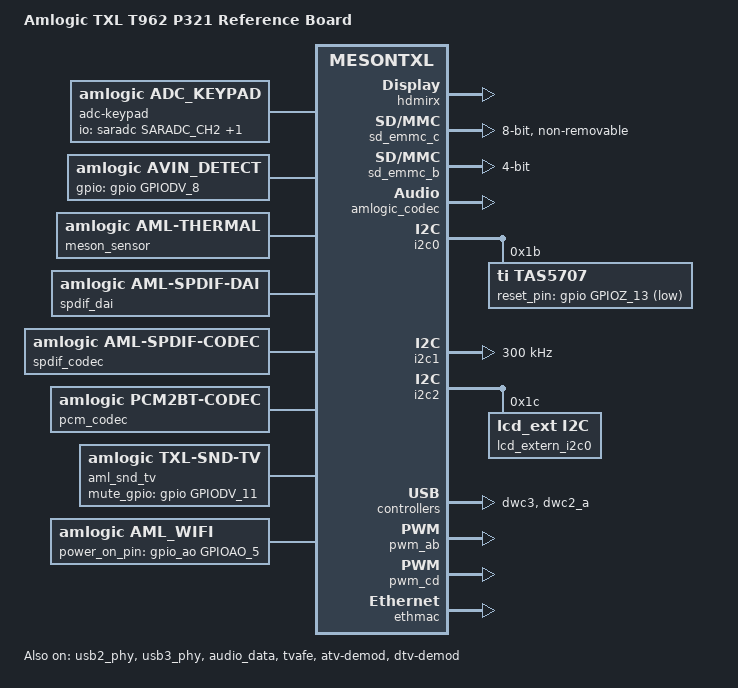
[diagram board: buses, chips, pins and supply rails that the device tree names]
/*
 * arch/arm/boot/dts/amlogic/txl_t962_321.dts
 *
 * Copyright (C) 2018 Amlogic, Inc. All rights reserved.
 *
 * This program is free software; you can redistribute it and/or modify
 * it under the terms of the GNU General Public License as published by
 * the Free Software Foundation; either version 2 of the License, or
 * (at your option) any later version.
 *
 * This program is distributed in the hope that it will be useful, but WITHOUT
 * ANY WARRANTY; without even the implied warranty of MERCHANTABILITY or
 * FITNESS FOR A PARTICULAR PURPOSE.  See the GNU General Public License for
 * more details.
 *
 */

/dts-v1/;

#include "mesontxl.dtsi"
#include "partition_mbox_normal_P_32.dtsi"
#include "mesontxl_p321-panel.dtsi"

/ {
	model = "Amlogic TXL T962 P321 Reference Board";
	compatible = "amlogic, txl_t962_p321";
	amlogic-dt-id = "txl_p321_v1_720p";

	aliases {
		serial0 = &uart_AO;
		serial1 = &uart_A;
		serial2 = &uart_B;
		serial3 = &uart_C;
		serial4 = &uart_AO_B;
		i2c0 = &i2c0;
		i2c1 = &i2c1;
		i2c2 = &i2c2;
		i2c3 = &i2c3;
		i2c4 = &i2c_AO;
	};

	ion_dev {
		compatible = "amlogic, ion_dev";
		memory-region = <&ion_reserved>;
	};

	memory@00000000 {
		device_type = "memory";
		linux,usable-memory = <0x100000 0x3ff00000>;
	};

	reserved-memory {
		#address-cells = <1>;
		#size-cells = <1>;
		ranges;
		/* global autoconfigured region for contiguous allocations */

		defendkey_reserved:linux,defendkey {
			compatible = "amlogic, defendkey";
			reg = <0x08300000 0x100000>;
		};

		secmon_reserved:linux,secmon {
			compatible = "shared-dma-pool";
			reusable;
			size = <0x400000>;
			alignment = <0x400000>;
			alloc-ranges = <0x05000000 0x400000>;
		};

		//secos_reserved:linux,secos {
		//	status = "disabled";
		//	compatible = "amlogic, aml_secos_memory";
		//	reg = <0x0 0x05300000 0x0 0x2000000>;
		//	no-map;
		//};

		logo_reserved:linux,meson-fb {
			compatible = "shared-dma-pool";
			reusable;
			size = <0x400000>;
			alignment = <0x400000>;
			alloc-ranges = <0x0 0x30000000>;
		};
		codec_mm_cma:linux,codec_mm_cma {
			compatible = "shared-dma-pool";
			reusable;
			/* ion_codec_mm max can alloc size 80M*/
			size = <0xd000000>;
			alignment = <0x400000>;
			linux,contiguous-region;
			/** alloc by self **/
			alloc-ranges = <0x30000000 0x10000000>;
		};


		ion_reserved:linux,ion-dev {
			compatible = "shared-dma-pool";
			reusable;
			size = <0x2400000>;
			alignment = <0x400000>;
			/* alloc by self */
			alloc-ranges = <0x0 0x30000000>;
		};

		/*di CMA pool */
		di_cma_reserved:linux,di_cma {
			compatible = "shared-dma-pool";
			reusable;
			/* buffer_size = 3621952(yuv422 8bit)
			 *  | 4736064(yuv422 10bit)
			 *  | 4179008(yuv422 10bit full pack mode)
			 * 10x3621952=34.6M(0x23) support 8bit
			 * 10x4736064=45.2M(0x2e) support 12bit
			 * 10x4179008=40M(0x28) support 10bit
			 */
			size = <0x02800000>;
			alignment = <0x400000>;
			alloc-ranges = <0x30000000 0x10000000>;
		};

		/* POST PROCESS MANAGER */
		ppmgr_reserved:linux,ppmgr {
			compatible = "amlogic, ppmgr_memory";
			size = <0x0>;
		};

		picdec_cma_reserved:linux,picdec {
			compatible = "shared-dma-pool";
			reusable;
			size = <0x0>;
			alignment = <0x0>;
			linux,contiguous-region;
		};

		/* codec shared reserved */
		codec_mm_reserved:linux,codec_mm_reserved {
			compatible = "amlogic, codec-mm-reserved";
			size = <0x0>;
			alignment = <0x100000>;
			//no-map;
		};

		demod_cma_reserved:linux,demod_cma {
			compatible = "shared-dma-pool";
			reusable;
			/* 5M */
			size = <0x0800000>;
			alignment = <0x400000>;
			alloc-ranges = <0x0 0x30000000>;
		};

		/*  vdin1 CMA pool */
		vdin1_cma_reserved:linux,vdin1_cma {
			compatible = "shared-dma-pool";
			reusable;
			/* 1920x1080x2x4  =16 M */
			size = <0x01000000>;
			alignment = <0x400000>;
			/** alloc by self **/
			alloc-ranges = <0x0 0x30000000>;
		};
	}; /* end of reserved-memory */

	amlogic_battery:dummy-battery {
		compatible = "amlogic, dummy-battery";
		status = "disabled";
	};

	amlogic_charger:dummy-charger {
		compatible = "amlogic, dummy-charger";
		status = "disabled";
	};

	secmon {
		compatible = "amlogic, secmon";
		memory-region = <&secmon_reserved>;
		in_base_func = <0x82000020>;
		out_base_func = <0x82000021>;
		reserve_mem_size = <0x00300000>;
	};

	gpioleds {
		compatible = "gpio-leds";
		status = "disabled";

		sys_led {
			label = "sys_led";
			gpios = <&gpio_ao GPIOAO_3 GPIO_ACTIVE_HIGH>;
			default-state = "on";
		};
	};

	/*for external keypad*/
	adc-keypad {
		compatible = "amlogic, adc_keypad";
		status = "okay";
		key_name = "power","up", "down","enter","left","right","home";
		key_num = <7>;
		io-channels = <&saradc SARADC_CH2>,
				<&saradc SARADC_CH3>;
		io-channel-names = "key-chan-2", "key-chan-3";
		key_chan = <SARADC_CH2 SARADC_CH2 SARADC_CH2 SARADC_CH2
					SARADC_CH2 SARADC_CH3 SARADC_CH3>;
		key_code = <116 103 108 28 105 106 102>;
		key_val = <0 143 266 389 512 143 266>; //val=voltage/1800mV*1023
		key_tolerance = <40 40 40 40 40 40 40>;
	};

	avin_detect {
		compatible = "amlogic, avin_detect";
		status = "okay";
		avin_device_num = <1>;
		gpios = <&gpio  GPIODV_8  GPIO_ACTIVE_HIGH>;
		detect_interval_length = <100>;
		set_detect_times = <5>;
		set_fault_tolerance = <1>;
	};

	meson-fb {
               compatible = "amlogic, meson-txl";
		memory-region = <&logo_reserved>;
		dev_name = "meson-fb";
		status = "okay";
		interrupts = <0 3 1
			0 89 1>;
		interrupt-names = "viu-vsync", "rdma";
		mem_size = <0x00400000 0x00b00000 0x00100000>;
		/* uboot logo,fb0/fb1 memory size,if afbcd fb0=0x0b51000*/
		display_mode_default = "720p60hz";
		/* 0:VPU free scale 1:OSD free scale 2:OSD super scale */
		scale_mode = <1>;
		/*1280*720*4*3 = 0xA8C000*/
		display_size_default = <1280 720 1280 2160 32>;
		pxp_mode = <0>; /** 0:normal mode 1:pxp mode */
		logo_addr = "0x3fc00000";
	};

	picdec {
		compatible = "amlogic, picdec";
		status = "okay";
		memory-region = <&picdec_cma_reserved>;
	};

	ppmgr {
		compatible = "amlogic, ppmgr";
		status = "okay";
		memory-region = <&ppmgr_reserved>;
	};

	deinterlace {
		compatible = "amlogic, deinterlace";
		status = "okay";
		/* 0:use reserved; 1:use cma; 2:use cma as reserved */
		flag_cma = <1>;
		//memory-region = <&di_reserved>;
		memory-region = <&di_cma_reserved>;
		interrupts = <0 46 1
				0 6 1>;
		interrupt-names = "de_irq";
		clocks = <&clkc CLKID_VPU_MUX>,
			<&clkc CLKID_FCLK_DIV4>,
			<&clkc CLKID_VPU_CLKB_TMP_COMP>,
			<&clkc CLKID_VPU_CLKB_COMP>;
		clock-names = "vpu_mux",
			"fclk_div4",
			"vpu_clkb_tmp_composite",
			"vpu_clkb_composite";
		clock-range = <333 333>;
		/* buffer-size = <3621952>;(yuv422 8bit) */
		buffer-size = <4179008>;/*yuv422 fullpack*/
		/* reserve-iomap = "true"; */
		/* if enable nr10bit, set nr10bit-support to 1 */
		nr10bit-support = <1>;
	};

	ionvideo {
		compatible = "amlogic, ionvideo";
		dev_name = "ionvideo";
		status = "okay";
	};

	hdmirx {
		compatible = "amlogic, hdmirx-txl";
		status = "okay";
		#address-cells=<1>;
		#size-cells=<1>;
		dev_name = "hdmirx";
		pinctrl-names = "hdmirx_pins";
		pinctrl-0 = <&hdmirx_a_mux &hdmirx_b_mux
			&hdmirx_c_mux>;
		repeat = <0>;
		interrupts = <0 56 1>;
		clocks = <&clkc CLKID_HDMIRX_MODET_COMP>,
			<&clkc CLKID_HDMIRX_CFG_COMP>,
			<&clkc CLKID_HDMIRX_ACR_COMP>,
			<&clkc CLKID_HDMIRX_AUDMEAS_COMP>,
			<&xtal>,
			<&clkc CLKID_FCLK_DIV5>,
			<&clkc CLKID_FCLK_DIV7>,
			<&clkc CLKID_HDCP22_SKP_COMP>,
			<&clkc CLKID_HDCP22_ESM_COMP>;
			//<&clkc CLK_AUD_PLL2FS>,
			//<&clkc CLK_AUD_PLL4FS>,
			//<&clkc CLK_AUD_OUT>;
		clock-names = "hdmirx_modet_clk",
			"hdmirx_cfg_clk",
			"hdmirx_acr_ref_clk",
			"hdmirx_audmeas_clk",
			"xtal",
			"fclk_div5",
			"fclk_div7",
			"hdcp_rx22_skp",
			"hdcp_rx22_esm";
			//"hdmirx_aud_pll2fs",
			//"hdmirx_aud_pll4f",
			//"clk_aud_out";
		hdmirx_id = <0>;
		en_4k_2_2k = <0>;
		hpd_low_cec_off = <1>;
		/* bit4: enable feature, bit3~0: port number */
		disable_port = <0x0>;
		reg = <0xc0800000 0xa00000
			0xC883C000 0x2000
			0xd0076000 0x2000
			0xc883e000 0x2000
			0xda83e000 0x2000
			0xc8834000 0x2000
			0xda846000 0x2000>;
	};

	vdin@0 {
		compatible = "amlogic, vdin";
		/*memory-region = <&vdin0_cma_reserved>;*/
		dev_name = "vdin0";
		status = "okay";
		reserve-iomap = "true";
		/*bit0:(1:share with codec_mm;0:cma alone)*/
		/*bit8:(1:alloc in discontinus way;0:alone in continuous way)*/
		flag_cma = <0x101>;
		/* MByte, if 10bit disable: 64M(YUV422),
		 * if 10bit enable: 64*1.5 = 96M(YUV422)
		 * if support 4K2K-YUV444-10bit-WR:3840*2160*4*4 ~= 128M
		 * if support 4K2K-YUV444-10bit-WR:3840*2160*4*6 ~= 190M
		 * if support 4K2K-YUV422-10bit-wr:3840*2160*3*4 ~= 96M
		 * if support 4K2K-YUV422-8BIT-WR:3840*2160*2*4 ~= 64M
		 * if support 1080p-YUV422-8BIT-WR:1920*1080*2*4 ~= 16M
		 */
		cma_size = <190>;
		interrupts = <0 83 1>;
		rdma-irq = <2>;
		clocks = <&clkc CLKID_FCLK_DIV5>,
			<&clkc CLKID_VDIN_MEAS_COMP>;
		clock-names = "fclk_div5", "cts_vdin_meas_clk";
		vdin_id = <0>;
		/* vdin write mem color depth support:
		 * bit0:support 8bit
		 * bit1:support 9bit
		 * bit2:support 10bit
		 * bit3:support 12bit
		 * bit4:support yuv422 10bit full pack mode (from txl new add)
		 * bit8:use 8bit  at 4k_50/60hz_10bit
		 * bit9:use 10bit at 4k_50/60hz_10bit
		 */
		tv_bit_mode = <0x215>;
	};

	vdin@1 {
		compatible = "amlogic, vdin";
		memory-region = <&vdin1_cma_reserved>;
		dev_name = "vdin1";
		status = "okay";
		reserve-iomap = "true";
		flag_cma = <0>;/*1:share with codec_mm;0:cma alone*/
		interrupts = <0 85 1>;
		rdma-irq = <4>;
		clocks = <&clkc CLKID_FCLK_DIV5>,
			<&clkc CLKID_VDIN_MEAS_COMP>;
		clock-names = "fclk_div5", "cts_vdin_meas_clk";
		vdin_id = <1>;
		/* vdin write mem color depth support:
		 * bit0:support 8bit
		 * bit1:support 9bit
		 * bit2:support 10bit
		 * bit3:support 12bit
		 */
		tv_bit_mode = <21>;
	};

	tvafe:tvafe@c8842000 {
		compatible = "amlogic, tvafe-txl";
		status = "okay";
		/*memory-region = <&tvafe_cma_reserved>;*/
		dev_name = "tvafe";
		flag_cma = <1>;/*1:share with codec_mm;0:cma alone*/
		cma_size = <5>;/*MByte*/
		reg = <0xc8842000 0x2000>;/*tvafe reg base*/
		reserve-iomap = "true";
		tvafe_id = <0>;
		//pinctrl-names = "default";
		/*!!particular sequence, no more and no less!!!*/
		tvafe_pin_mux = <
				3 /* TVAFE_CVBS_IN2, CVBS_IN0 = 0 */
				1 /* TVAFE_CVBS_IN0, CVBS_IN1 */
				2 /* TVAFE_CVBS_IN1, CVBS_IN2 */
				4 /* TVAFE_CVBS_IN3, CVBS_IN3 */
		>;
		clocks = <&clkc CLKID_DAC_CLK>;
		clock-names = "vdac_clk_gate";
	};

	vecm {
		compatible = "amlogic, vecm";
		dev_name = "aml_vecm";
		status = "okay";
		gamma_en = <1>;/*1:enabel ;0:disable*/
		wb_en = <1>;/*1:enabel ;0:disable*/
		cm_en = <1>;/*1:enabel ;0:disable*/
		wb_sel = <1>;/*1:mtx ;0:gainoff*/
		vlock_en = <1>;/*1:enable;0:disable*/
		vlock_mode = <0x4>;
		/* vlock work mode:
		 *bit0:auto ENC
		 *bit1:auto PLL
		 *bit2:manual PLL
		 *bit3:manual ENC
		 *bit4:manual soft ENC
		 *bit5:manual MIX PLL ENC
		 */
		 vlock_pll_m_limit = <1>;
		 vlock_line_limit = <3>;
	};

	tuner: tuner {
		status = "okay";
		tuner_name = "r842_tuner";
		tuner_i2c_adap = <&i2c1>;
		tuner_i2c_addr = <0xf6>;
		tuner_xtal = <1>; /* 0: 16MHz, 1: 24MHz, 3: 27MHz */
		tuner_xtal_mode = <0>;
					/* NO_SHARE_XTAL(0)
					 * MASTER_TO_SLAVE_XTAL_IN(1)
					 * MASTER_TO_SLAVE_XTAL_OUT(2)
					 * SLAVE_XTAL_OUT(3)
					 */
		tuner_xtal_cap = <38>; /* 0 ~ 41 (pf) */
	};

	atv-demod {
		compatible = "amlogic, atv-demod";
		status = "okay";
		tuner = <&tuner>;
		btsc_sap_mode = <1>;
		pinctrl-names = "atvdemod_agc_pins";
		pinctrl-0 = <&atvdemod_agc_pins>;
		reg = <0xc8840000 0x2000 /* demod reg */
			0xc883c000 0x2000 /* hiu reg */
			0xc8834000 0x2000>; /* periphs reg */
		reg_23cf = <0x88188832>;
		/*default:0x88188832;r840 on haier:0x48188832*/
	};

	sd_emmc_c: emmc@d0074000 {
		compatible = "amlogic, meson-mmc-txl";
		status = "okay";
		reg = <0xd0074000 0x2000>;
		interrupts = <0 218 1>;
		pinctrl-names = "emmc_clk_cmd_pins", "emmc_all_pins";
		pinctrl-0 = <&emmc_clk_cmd_pins>;
		pinctrl-1 = <&emmc_conf_pull_up &emmc_conf_pull_done>;
		clocks = <&clkc CLKID_SD_EMMC_C>,
			   <&clkc CLKID_SD_EMMC_C_COMP>,
			   <&clkc CLKID_FCLK_DIV2>;
		clock-names = "core", "clkin0", "clkin1";

		bus-width = <8>;
		cap-sd-highspeed;
		cap-mmc-highspeed;
		mmc-ddr-1_8v;
		mmc-hs200-1_8v;

		max-frequency = <200000000>;
		non-removable;
		disable-wp;
		emmc {
			pinname = "emmc";
			ocr_avail = <0x200080>; /**VDD voltage 3.3 ~ 3.4 */
			caps = "MMC_CAP_8_BIT_DATA",
				 "MMC_CAP_MMC_HIGHSPEED",
				 "MMC_CAP_SD_HIGHSPEED",
				 "MMC_CAP_NONREMOVABLE",
				 "MMC_CAP_1_8V_DDR",
				 "MMC_CAP_HW_RESET",
				 "MMC_CAP_ERASE",
				 "MMC_CAP_CMD23";
			caps2 = "MMC_CAP2_HS200";
			f_min = <400000>;
			f_max = <100000000>;
			max_req_size = <0x20000>; /**128KB*/
			gpio_dat3 = <&gpio BOOT_3 GPIO_ACTIVE_HIGH>;
			hw_reset = <&gpio BOOT_9 GPIO_ACTIVE_HIGH>;
			tx_phase = <3>;
			card_type = <1>;
			/* 1:mmc card(include eMMC),
			 * 2:sd card(include tSD)
			 */
		};
	};

	sd_emmc_b:sd@d0072000 {
		compatible = "amlogic, meson-mmc-txl";
		status = "okay";
		reg = <0xd0072000 0x2000>;
		interrupts = <0 217 1>;
		pinctrl-names = "sd_all_pins",
			"sd_clk_cmd_pins",
			"sd_1bit_pins",
			"sd_clk_cmd_uart_pins",
			"sd_1bit_uart_pins",
			"sd_to_ao_uart_pins",
			"ao_to_sd_uart_pins",
			"ao_to_sd_jtag_pins",
			"sd_to_ao_jtag_pins";
		pinctrl-0 = <&sd_all_pins>;
		pinctrl-1 = <&sd_clk_cmd_pins>;
		pinctrl-2 = <&sd_1bit_pins>;
		pinctrl-3 = <&sd_to_ao_uart_clr_pins
			&sd_clk_cmd_pins &ao_to_sd_uart_pins>;
		pinctrl-4 = <&sd_to_ao_uart_clr_pins
			&sd_1bit_pins &ao_to_sd_uart_pins>;
		pinctrl-5 = <&sd_all_pins &sd_to_ao_uart_pins>;
		pinctrl-6 = <&sd_to_ao_uart_clr_pins &ao_to_sd_uart_pins>;
		pinctrl-7 = <&sd_to_ao_uart_clr_pins &ao_to_sd_uart_pins>;
		pinctrl-8 = <&sd_all_pins &sd_to_ao_uart_pins>;
		clocks = <&clkc CLKID_SD_EMMC_B>,
			   <&clkc CLKID_SD_EMMC_B_COMP>,
			   <&clkc CLKID_FCLK_DIV2>;
		clock-names = "core", "clkin0", "clkin1";

		bus-width = <4>;
		cap-sd-highspeed;
		max-frequency = <100000000>;
		disable-wp;
		sd {
			pinname = "sd";
			ocr_avail = <0x200080>; /**VDD voltage 3.3 ~ 3.4 */
			caps = "MMC_CAP_4_BIT_DATA",
				 "MMC_CAP_MMC_HIGHSPEED",
				 "MMC_CAP_SD_HIGHSPEED";
			/* "MMC_CAP_UHS_SDR12",
			 * "MMC_CAP_UHS_SDR25",
			 * "MMC_CAP_UHS_SDR50",
			 * "MMC_CAP_UHS_SDR104";
			 */
			f_min = <400000>;
			f_max = <100000000>;
			max_req_size = <0x20000>; /**128KB*/
			gpio_dat3 = <&gpio CARD_4 GPIO_ACTIVE_HIGH>;
			jtag_pin = <&gpio CARD_0 GPIO_ACTIVE_HIGH>;
			gpio_cd = <&gpio CARD_6 GPIO_ACTIVE_HIGH>;
			card_type = <5>;
			/* 0:unknown,
			 * 1:mmc card(include eMMC),
			 * 2:sd card(include tSD),
			 * 3:sdio device(ie:sdio-wifi),
			 * 4:SD combo (IO+mem) card,
			 * 5:NON sdio device(means sd/mmc card),
			 * other:reserved
			 */
		};
	};

	spifc: spifc@c1108c80 {
		status = "disabled";
		compatible = "amlogic,aml-spi-nor";
		reg = <0xc1108c80 0x80>;
		pinctrl-names = "default";
		pinctrl-0 = <&spifc_all_pins>;
		clocks = <&clkc CLKID_CLK81>;
		clock-names = "core";
		spi-nor@0 {
			compatible = "jedec,spi-nor";
			spifc-frequency = <40000000>;
			read-capability = <2>;/* dual read 1_1_2 */
			spifc-io-width = <2>;/* txl only support 2 io */
			cs_gpios = <&gpio BOOT_11 GPIO_ACTIVE_HIGH>;
		};
	};

	unifykey {
		compatible = "amlogic, unifykey";
		status = "okay";

		unifykey-num = <19>;
		unifykey-index-0 = <&keysn_0>;
		unifykey-index-1 = <&keysn_1>;
		unifykey-index-2 = <&keysn_2>;
		unifykey-index-3 = <&keysn_3>;
		unifykey-index-4 = <&keysn_4>;
		unifykey-index-5 = <&keysn_5>;
		unifykey-index-6 = <&keysn_6>;
		unifykey-index-7 = <&keysn_7>;
		unifykey-index-8 = <&keysn_8>;
		unifykey-index-9 = <&keysn_9>;
		unifykey-index-10= <&keysn_10>;
		unifykey-index-11 = <&keysn_11>;
		unifykey-index-12 = <&keysn_12>;
		unifykey-index-13 = <&keysn_13>;
		unifykey-index-14 = <&keysn_14>;
		unifykey-index-15 = <&keysn_15>;
		unifykey-index-16 = <&keysn_16>;
		unifykey-index-17 = <&keysn_17>;
		unifykey-index-18 = <&keysn_18>;

		keysn_0: key_0{
			key-name = "usid";
			key-device = "normal";
			key-permit = "read","write","del";
		};
		keysn_1:key_1{
			key-name = "mac";
			key-device  = "normal";
			key-permit = "read","write","del";
		};
		keysn_2:key_2{
			key-name = "hdcp";
			key-device = "secure";
			key-type  = "sha1";
			key-permit = "read","write","del";
		};
		keysn_3:key_3{
			key-name = "secure_boot_set";
			key-device = "efuse";
			key-permit = "write";
		};
		keysn_4:key_4{
			key-name = "mac_bt";
			key-device = "normal";
			key-permit = "read","write","del";
			key-type  = "mac";
		};
		keysn_5:key_5{
			key-name = "mac_wifi";
			key-device = "normal";
			key-permit = "read","write","del";
			key-type  = "mac";
		};
		keysn_6:key_6{
			key-name = "hdcp2_tx";
			key-device = "normal";
			key-permit = "read","write","del";
		};
		keysn_7:key_7{
			key-name = "hdcp2_rx";
			key-device = "normal";
			key-permit = "read","write","del";
		};
		keysn_8:key_8{
			key-name = "widevinekeybox";
			key-device = "secure";
			key-type = "sha1";
			key-permit = "read","write","del";
		};
		keysn_9:key_9{
			key-name = "deviceid";
			key-device = "normal";
			key-permit = "read","write","del";
		};
		keysn_10:key_10{
			key-name = "hdcp22_fw_private";
			key-device = "secure";
			key-permit = "read","write","del";
		};
		keysn_11:key_11{
			key-name = "hdcp22_rx_private";
			key-device = "secure";
			key-permit = "read","write","del";
		};
		keysn_12:key_12{
			key-name = "hdcp22_rx_fw";
			key-device = "normal";
			key-permit = "read","write","del";
		};
		keysn_13:key_13{
			key-name = "hdcp14_rx";
			key-device = "normal";
			key-type  = "sha1";
			key-permit = "read","write","del";
		};
		keysn_14:key_14{
			key-name = "prpubkeybox";// PlayReady
			key-device = "secure";
			key-permit = "read","write","del";
		};
		keysn_15:key_15{
			key-name = "prprivkeybox";// PlayReady
			key-device = "secure";
			key-permit = "read","write","del";
		};
		keysn_16:key_16{
			key-name = "lcd";
			key-device = "normal";
			key-permit = "read","write","del";
		};
		keysn_17:key_17{
			key-name = "lcd_extern";
			key-device = "normal";
			key-permit = "read","write","del";
		};
		keysn_18:key_18{
			key-name = "backlight";
			key-device = "normal";
			key-permit = "read","write","del";
		};
	}; /* End unifykey */

	vout {
		compatible = "amlogic, vout";
		dev_name = "vout";
		status = "okay";
		fr_auto_policy = <0>;
	};

	dvb {
		compatible = "amlogic, dvb";
		dev_name = "dvb";
		status = "okay";
		fe0_mode = "internal";
		fe0_tuner = <&tuner>;

		/*"parallel","serial","disable"*/
		ts2 = "parallel";
		ts2_control = <0>;
		ts2_invert = <0>;
		interrupts = <0 23 1
						0 5 1
						0 53 1
						0 19 1
						0 25 1
						0 18 1
						0 24 1>;
		interrupt-names = "demux0_irq",
							"demux1_irq",
							"demux2_irq",
							"dvr0_irq",
							"dvr1_irq",
							"dvrfill0_fill",
							"dvrfill1_flush";
		clocks = <&clkc CLKID_DEMUX
						&clkc CLKID_ASYNC_FIFO
						&clkc CLKID_AHB_ARB0
						&clkc CLKID_DOS_PARSER>;
		clock-names = "demux", "asyncfifo", "ahbarb0", "uparsertop";
	};

	meson_sensor: sensor@0 {
		compatible = "amlogic, aml-thermal";
		#thermal-sensor-cells = <1>;
		cooling_devices {
			cpufreq_cool_cluster0 {
				min_state = <1000000>;
				dyn_coeff = <140>;
				cluster_id = <0>;
				node_name = "cpus";
				device_type = "cpufreq";
			};
			cpucore_cool_cluster0 {
				min_state = <1>;
				dyn_coeff = <0>;
				cluster_id = <0>;
				node_name = "cpu_core_cluster0";
				device_type = "cpucore";
			};
			gpufreq_cool {
				min_state = <400>;
				dyn_coeff = <437>;
				cluster_id = <0>;
				node_name = "mali";
				device_type = "gpufreq";
			};
			gpucore_cool {
				min_state = <1>;
				dyn_coeff = <0>;
				cluster_id = <0>;
				node_name = "thermal_gpu_cores";
				device_type = "gpucore";
			};
		};
		cpu_cluster0:cpu_core_cluster0 {
			#cooling-cells = <2>; /* min followed by max */
		};
		gpucore:thermal_gpu_cores {
			#cooling-cells = <2>; /* min followed by max */
		};
	};

	dtv-demod {
		compatible = "amlogic, ddemod-txl";
		status = "okay";

		pinctrl-names = "dtvdemod_agc_pins";
		pinctrl-0 = <&dtvdemod_agc_pins>;

		clocks = <&clkc CLKID_DAC_CLK>;
		clock-names = "vdac_clk_gate";

		reg = <0xc8844000 0x2000	/*dtv demod base*/
			   0xc883c000 0x2000	/*hiu reg base*/
			   0xc8100000 0x1000	/*io_aobus_base*/
			   0xc1104400 0x1000	/*reset*/
			   >;
		/*move from dvbfe*/
		dtv_demod0_mem = <0>;	// need move to aml_dtv_demod ?
		spectrum = <1>;
		cma_flag = <1>;
		cma_mem_size = <8>;
		memory-region = <&demod_cma_reserved>;//<&demod_reserved>;
	};

	thermal-zones {
		soc_thermal {
			polling-delay = <1000>;
			polling-delay-passive = <100>;
			sustainable-power = <2150>;
			thermal-sensors = <&meson_sensor 3>;

			trips {
				switch_on: trip-point@0 {
					temperature = <70000>;
					hysteresis = <1000>;
					type = "passive";
				};
				control: trip-point@1 {
					temperature = <80000>;
					hysteresis = <1000>;
					type = "passive";
				};
				hot: trip-point@2 {
					temperature = <85000>;
					hysteresis = <5000>;
					type = "hot";
				};
				critical: trip-point@3 {
					temperature = <260000>;
					hysteresis = <1000>;
					type = "critical";
				};
			};

			cooling-maps {
				cpufreq_cooling_map {
					trip = <&control>;
					cooling-device = <&cpus 0 4>;
					contribution = <1024>;
				};
				cpucore_cooling_map {
					trip = <&control>;
					cooling-device = <&cpu_cluster0 0 3>;
					contribution = <1024>;
				};
				gpufreq_cooling_map {
					trip = <&control>;
					cooling-device = <&gpu 0 4>;
					contribution = <1024>;
				};
				gpucore_cooling_map {
					trip = <&control>;
					cooling-device = <&gpucore 0 2>;
					contribution = <1024>;
				};
			};
		};
	};

	/* start AUDIO_RELATED */
	i2s_dai: I2S {
		#sound-dai-cells = <0>;
		compatible = "amlogic, aml-i2s-dai";
		clocks = <
			&clkc CLKID_MPLL3
			&clkc CLKID_AMCLK_COMP
			&clkc CLKID_AIU_GLUE
			&clkc CLKID_I2S_OUT
			&clkc CLKID_AMCLK_MEASURE
			&clkc CLKID_AIFIFO2
			&clkc CLKID_MIXER
			&clkc CLKID_MIXER_IFACE
			&clkc CLKID_ADC
			&clkc CLKID_AIU_TOP
			&clkc CLKID_AOCLK_GATE
			&clkc CLKID_I2S_SPDIF
		>;
		clock-names =
			"mpll",
			"mclk",
			"top_glue",
			"i2s_out",
			"amclk_measure",
			"aififo2",
			"aud_mixer",
			"mixer_reg",
			"adc",
			"top_level",
			"aoclk",
			"aud_in";
	};

	spdif_dai: SPDIF {
		#sound-dai-cells = <0>;
		compatible = "amlogic, aml-spdif-dai";
		clocks = <
			&clkc CLKID_MPLL1
			&clkc CLKID_IEC958_INT_COMP
			&clkc CLKID_AMCLK_COMP
			&clkc CLKID_IEC958_MUX
			&clkc CLKID_CLK81
			&clkc CLKID_IEC958
			&clkc CLKID_IEC958_GATE
		>;
		clock-names =
			"mpll1",
			"i958",
			"mclk",
			"spdif",
			"clk_81",
			"iec958",
			"iec958_amclk";
	};

	pcm_dai: PCM {
		#sound-dai-cells = <0>;
		compatible = "amlogic, aml-pcm-dai";
		pinctrl-names = "audio_pcm";
		/* disable pcm pin mux temporary, enable it if necessary */
		/*pinctrl-0 = <&aml_audio_pcm>;*/
		clocks = <
			&clkc CLKID_MPLL0
			&clkc CLKID_PCM_MCLK_COMP
			&clkc CLKID_PCM_SCLK_COMP
			>;
		clock-names = "mpll0", "pcm_mclk", "pcm_sclk";
		pcm_mode = <1>;	/* 0=slave mode, 1=master mode */
	};

	i2s_plat: i2s_platform {
		compatible = "amlogic, aml-i2s";
		interrupts = <0 29 1>;
	};

	pcm_plat: pcm_platform {
		compatible = "amlogic, aml-pcm";
	};

	spdif_codec: spdif_codec {
		#sound-dai-cells = <0>;
		compatible = "amlogic, aml-spdif-codec";
		status = "okay";
		pinctrl-names = "audio_spdif_out";
		pinctrl-0 = <&audio_spdif_out_pins>;
	};

	pcm_codec: pcm_codec {
		#sound-dai-cells = <0>;
		compatible = "amlogic, pcm2BT-codec";
		status = "okay";
	};
	/* endof AUDIO MESON8 DEVICES */

	/* AUDIO board specific */
	dummy_codec:dummy {
		#sound-dai-cells = <0>;
		compatible = "amlogic, aml_dummy_codec";
		status = "disabled";
	};

	amlogic_codec:t9015S {
		#sound-dai-cells = <0>;
		compatible = "amlogic, aml_codec_T9015S";
		status = "okay";
		reg = <0xc8832000 0x14>;
	};

	aml_snd_tv {
		compatible = "amlogic, txl-snd-tv";
		status = "okay";
		aml-sound-card,format = "i2s";
		aml_sound_card,name = "AML-TVAUDIO";
		pinctrl-names = "audio_i2s";
		pinctrl-0 = <&aml_audio_i2s>;
		/*avout mute gpio*/
		mute_gpio-gpios = <&gpio GPIODV_11 GPIO_ACTIVE_HIGH>;
		sleep_time = <20>;
		aux_dev = <&tas5707>;
		cpu_list = <&cpudai0 &cpudai1 &cpudai2>;
		codec_list = <&codec0 &codec1 &codec2>;
		plat_list = <&i2s_plat &i2s_plat &pcm_plat>;
		cpudai0: cpudai0 {
			sound-dai = <&i2s_dai>;
		};
		cpudai1: cpudai1 {
			sound-dai = <&spdif_dai>;
		};
		cpudai2: cpudai2 {
			sound-dai = <&pcm_dai>;
		};
		codec0: codec0 {
			sound-dai = <&amlogic_codec>;
		};
		codec1: codec1 {
			sound-dai = <&spdif_codec>;
		};
		codec2: codec2 {
			sound-dai = <&pcm_codec>;
		};
		Channel_Mask {
			/*i2s has 4 pins, 8channel, mux output*/
			Speaker1_Channel_Mask = "i2s_2/3";
			DAC0_Channel_Mask = "i2s_0/1";
		};
	};

	amaudio2 {
		compatible = "amlogic, aml_amaudio2";
		status = "okay";
		interrupts = <0 48 1>;
	};
	/* end of AUDIO_RELATED */

	wifi {
		compatible = "amlogic, aml_wifi";
		status = "okay";
		power_on_pin = <&gpio_ao GPIOAO_5 GPIO_ACTIVE_HIGH>;
	};
}; /* end of / */

&pinctrl_periphs {
	/* start AUDIO_RELATED */
	/*i2s*/
	aml_audio_i2s: aml_audio_i2s {
		mux {
			groups = "i2s_amclk_z",
				"i2s_aoclk_out_z",
				"i2s_lrclk_out_z"
				/*,"i2s_out_ch01_z"*/
				,"i2s_out_ch23"
				;
			function = "i2s";
		};
	};

	/*spdif*/
	audio_spdif_out_pins: audio_spdif_out_pins {
		mux {
			groups = "spdif_out";
			function = "spdif_out";
		};
	};

	/*pcm*/
	aml_audio_pcm: aml_audio_pcm {
		mux {
			groups =
				"pcm_clk_a",
				"pcm_fs_a",
				"pcm_in_a",
				"pcm_out_a";
			function = "pcm_a";
		};
	};
	/* end AUDIO_RELATED */

	/*lcd_extern*/
	lcd_extern_off_pins:lcd_extern_off_pin {
		mux {
			pins = "GPIOH_2",
				"GPIOH_3";
			function = "gpio_periphs";
			/*output-high;*/
			output-low;
			/*input-enable;*/
		};
	};

	/*backlight*/
	bl_pwm_off_pins:bl_pwm_off_pin {
		mux {
			pins = "GPIOZ_6";
			function = "gpio_periphs";
			output-low;
		};
	};
	bl_pwm_combo_off_pins:bl_pwm_combo_off_pin {
		mux {
			pins = "GPIOZ_6",
				"GPIOZ_7";
			function = "gpio_periphs";
			output-low;
		};
	};
};

&i2c0 {
	status = "okay";
	pinctrl-names = "default";
	pinctrl-0 = <&i2c0_z_pins>;

	/* start AUDIO_RELATED */
	tas5707: tas5707@36 {
		#sound-dai-cells = <0>;
		compatible = "ti,tas5707";
		status = "okay";
		codec_name = "tas5707";
		reg = <0x1B>;
		reset_pin = <&gpio GPIOZ_13 GPIO_ACTIVE_LOW>;
		eq_enable = <0>;
		drc_enable = <0>;
	};
	/* end AUDIO_RELATED */
};


&i2c1 {
	status = "okay";
	clock-frequency = <300000>;
	pinctrl-names="default";
	pinctrl-0=<&i2c1_dv_pins>;
};

&i2c2 {
	status = "okay";
	pinctrl-names="default";
	pinctrl-0=<&i2c2_h_pins>;

	lcd_extern_i2c0: lcd_extern_i2c@0 {
		compatible = "lcd_ext, i2c";
		dev_name = "i2c_T5800Q";
		reg = <0x1c>;
		status = "okay";
	};
};

&dwc3 {
	status = "okay";
};

&usb2_phy {
	status = "okay";
};

&usb3_phy {
	status = "okay";
};

&dwc2_a {
	status = "okay";
	/** 0: normal, 1: otg+dwc3 host only, 2: otg+dwc3 device only*/
	controller-type = <1>;
};

&audio_data{
	status = "okay";
};

&pwm_ab {
	status = "okay";
};

&pwm_cd {
	status = "okay";
};

&ethmac {
	status = "okay";
};

&spicc {
	status = "disabled";
	pinctrl-names = "default";
	pinctrl-0 = <&spicc_pins>;
	cs-gpios = <&gpio GPIOZ_3 0>;
};

